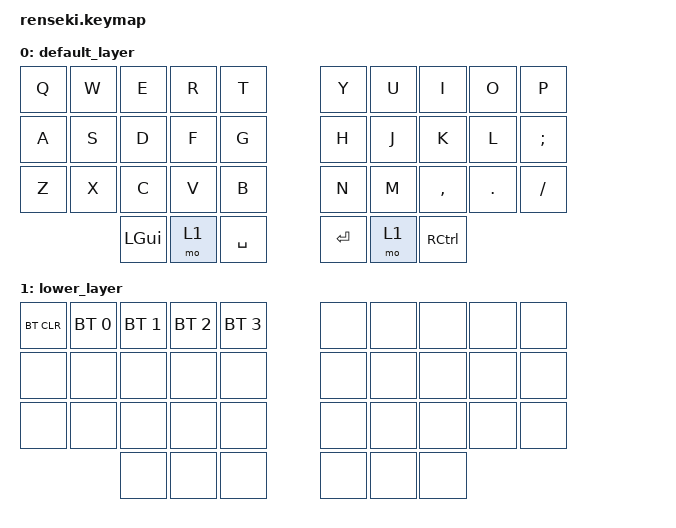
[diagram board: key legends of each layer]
#include <behaviors.dtsi>
#include <dt-bindings/zmk/keys.h>
#include <dt-bindings/zmk/bt.h>

/ {
    keymap {
        compatible = "zmk,keymap";

        default_layer {
            bindings = <
                &kp Q &kp W &kp E &kp R &kp T    &kp Y &kp U &kp I     &kp O   &kp P
                &kp A &kp S &kp D &kp F &kp G    &kp H &kp J &kp K     &kp L   &kp SEMI
                &kp Z &kp X &kp C &kp V &kp B    &kp N &kp M &kp COMMA &kp DOT &kp FSLH
                            &kp LGUI &mo 1 &kp SPACE  &kp RET &mo 1 &kp RCTRL
            >;
        };

        lower_layer {
            bindings = <
                &bt BT_CLR &bt BT_SEL 0 &bt BT_SEL 1 &bt BT_SEL 2 &bt BT_SEL 3    &none &none &none &none &none
                &none      &none        &none        &none        &none           &none &none &none &none &none
                &none      &none        &none        &none        &none           &none &none &none &none &none
                                        &none        &none        &none           &none &none &none
            >;
        };
    };
};
